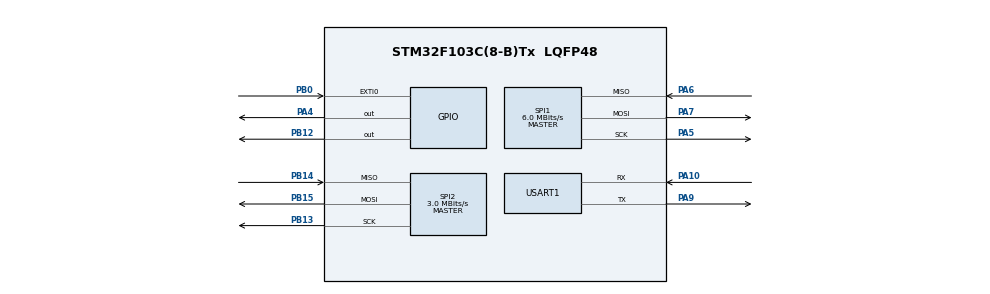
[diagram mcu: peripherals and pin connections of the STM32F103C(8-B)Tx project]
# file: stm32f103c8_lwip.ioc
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Mcu.Family=STM32F1
Mcu.Name=STM32F103C(8-B)Tx
Mcu.Package=LQFP48
NVIC.PriorityGroup=NVIC_PRIORITYGROUP_4
PA10.Mode=Asynchronous
PA10.Signal=USART1_RX
PA13.Mode=JTAG_4_pins
PA13.Signal=SYS_JTMS-SWDIO
PA14.Mode=JTAG_4_pins
PA14.Signal=SYS_JTCK-SWCLK
PA15.Mode=JTAG_4_pins
PA15.Signal=SYS_JTDI
PA4.Signal=GPIO_Output
PA5.Mode=Full_Duplex_Master
PA5.Signal=SPI1_SCK
PA6.Mode=Full_Duplex_Master
PA6.Signal=SPI1_MISO
PA7.Mode=Full_Duplex_Master
PA7.Signal=SPI1_MOSI
PA9.Mode=Asynchronous
PA9.Signal=USART1_TX
PB0.Signal=GPXTI0
PB12.GPIO_ModeDefaultOutputPP=GPIO_MODE_OUTPUT_PP
PB12.GPIO_PuPd=GPIO_PULLUP
PB12.GPIO_Speed=GPIO_SPEED_FREQ_LOW
PB12.PinState=GPIO_PIN_SET
PB12.Signal=GPIO_Output
PB13.Mode=Full_Duplex_Master
PB13.Signal=SPI2_SCK
PB14.Mode=Full_Duplex_Master
PB14.Signal=SPI2_MISO
PB15.Mode=Full_Duplex_Master
PB15.Signal=SPI2_MOSI
PB3.Mode=JTAG_4_pins
PB3.Signal=SYS_JTDO-TRACESWO
PC14-OSC32_IN.Mode=LSE-External-Oscillator
PC14-OSC32_IN.Signal=RCC_OSC32_IN
PC15-OSC32_OUT.Mode=LSE-External-Oscillator
PC15-OSC32_OUT.Signal=RCC_OSC32_OUT
PD0-OSC_IN.Mode=HSE-External-Oscillator
PD0-OSC_IN.Signal=RCC_OSC_IN
PD1-OSC_OUT.Mode=HSE-External-Oscillator
PD1-OSC_OUT.Signal=RCC_OSC_OUT
ProjectManager.HeapSize=0x400
ProjectManager.StackSize=0x400
ProjectManager.TargetToolchain=EWARM V8.32
RCC.AHBFreq_Value=48000000
RCC.APB1CLKDivider=RCC_HCLK_DIV2
RCC.APB1Freq_Value=24000000
RCC.APB1TimFreq_Value=48000000
RCC.APB2Freq_Value=48000000
RCC.APB2TimFreq_Value=48000000
RCC.HCLKFreq_Value=48000000
RCC.PLLMUL=RCC_PLL_MUL6
RCC.PLLSourceVirtual=RCC_PLLSOURCE_HSE
RCC.SYSCLKFreq_VALUE=48000000
RCC.SYSCLKSource=RCC_SYSCLKSOURCE_PLLCLK
RCC.USBFreq_Value=48000000
SPI1.BaudRatePrescaler=SPI_BAUDRATEPRESCALER_8
SPI1.CalculateBaudRate=6.0 MBits/s
SPI1.Direction=SPI_DIRECTION_2LINES
SPI1.Mode=SPI_MODE_MASTER
SPI1.VirtualType=VM_MASTER
SPI2.BaudRatePrescaler=SPI_BAUDRATEPRESCALER_8
SPI2.CLKPhase=SPI_PHASE_2EDGE
SPI2.CLKPolarity=SPI_POLARITY_HIGH
SPI2.CRCCalculation=SPI_CRCCALCULATION_DISABLE
SPI2.CalculateBaudRate=3.0 MBits/s
SPI2.Direction=SPI_DIRECTION_2LINES
SPI2.Mode=SPI_MODE_MASTER
SPI2.VirtualType=VM_MASTER
USART1.VirtualMode=VM_ASYNC
board=custom

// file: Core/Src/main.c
/* USER CODE BEGIN Header */
/**
  ******************************************************************************
  * @file           : main.c
  * @brief          : Main program body
  ******************************************************************************
  * @attention
  *
  * <h2><center>&copy; Copyright (c) 2020 STMicroelectronics.
  * All rights reserved.</center></h2>
  *
  * This software component is licensed by ST under Ultimate Liberty license
  * SLA0044, the "License"; You may not use this file except in compliance with
  * the License. You may obtain a copy of the License at:
  *                             www.st.com/SLA0044
  *
  ******************************************************************************
  */
/* USER CODE END Header */
#include "main.h"

/* USER CODE BEGIN Includes */
#include "stdio.h"
#include "string.h"

#include "flash.h"
#include "enc28j60.h"

#include "lwip/init.h"
#include "lwip/pbuf.h"
#include "ip_addr.h"
#include "lwip.h"
#include "device.h"
/* USER CODE END Includes */

/* USER CODE BEGIN PTD */
extern __IO uint32_t LocalTime;
uint8_t flash_unique_id[8];
uint8_t *macaddr = &flash_unique_id[2];
/* USER CODE END PTD */

/* USER CODE BEGIN PV */
dev_ctrl device;
/* USER CODE END PV */

void SystemClock_Config(void);
static void MX_GPIO_Init(void);
static void MX_SPI1_Init(void);
static void MX_SPI2_Init(void);
static void MX_USART1_UART_Init(void);

int main(void)
{

  /* MCU Configuration--------------------------------------------------------*/

  /* Reset of all peripherals, Initializes the Flash interface and the Systick. */

  LL_APB2_GRP1_EnableClock(LL_APB2_GRP1_PERIPH_AFIO);
  LL_APB1_GRP1_EnableClock(LL_APB1_GRP1_PERIPH_PWR);

  NVIC_SetPriorityGrouping(NVIC_PRIORITYGROUP_4);

  /* System interrupt init*/

  /** NONJTRST: Full SWJ (JTAG-DP + SW-DP) but without NJTRST
  */
  LL_GPIO_AF_Remap_SWJ_NONJTRST();

  /* Configure the system clock */
  SystemClock_Config();

  /* Initialize all configured peripherals */
  MX_GPIO_Init();
  MX_SPI1_Init();
  MX_SPI2_Init();
  MX_USART1_UART_Init();
  /* USER CODE BEGIN 2 */

  LL_SYSTICK_EnableIT();
  /* USER CODE END 2 */

  /* Infinite loop */
  /* USER CODE BEGIN WHILE */
  LL_SPI_Enable(SPI1);
  LL_SPI_Enable(SPI2);

  w25x16_ReadUniqueID(flash_unique_id);

//  printf("\nmacaddr:");
//  for (i=0;i<6;i++) {
//    printf("%02x ", macaddr[i]);
//  }
//  printf("\r\n");

  LwIP_Init();

  while (1)
  {
    /* USER CODE END WHILE */

    /* USER CODE BEGIN 3 */
    //HAL_UART_Transmit(&huart1, (uint8_t *)&ch, 1, 0xffff);
    //printf("helloworld!\r\n");
    //HAL_UART_Transmit(&huart2, buf, 1, 0xffff);
//    printf("====================\r\n");
//    w25x16_ReadJEDECID();
//    w25x16_ReadDeviceID();
//    w25x16_ReadManufacturer();
//     w25x16_ReadUniqueID();
//    w25x16_readstatus1();
//    w25x16_readstatus2();

//    w25x16_sector_erase(0x0);
//    w25x16_write_data(0x0, wbuf, 11);
//    memset(rbuf, 0, sizeof(rbuf));
//    w25x16_read_data(0x0, rbuf, 11);

    //printf("polling!\r\n");
    LwIP_Periodic_Handle(LocalTime);
  }
  /* USER CODE END 3 */
}

void SystemClock_Config(void)
{
  LL_FLASH_SetLatency(LL_FLASH_LATENCY_1);
  while(LL_FLASH_GetLatency()!= LL_FLASH_LATENCY_1)
  {
  }
  LL_RCC_HSE_Enable();

   /* Wait till HSE is ready */
  while(LL_RCC_HSE_IsReady() != 1)
  {

  }
  LL_RCC_PLL_ConfigDomain_SYS(LL_RCC_PLLSOURCE_HSE_DIV_1, LL_RCC_PLL_MUL_6);
  LL_RCC_PLL_Enable();

   /* Wait till PLL is ready */
  while(LL_RCC_PLL_IsReady() != 1)
  {

  }
  LL_RCC_SetAHBPrescaler(LL_RCC_SYSCLK_DIV_1);
  LL_RCC_SetAPB1Prescaler(LL_RCC_APB1_DIV_2);
  LL_RCC_SetAPB2Prescaler(LL_RCC_APB2_DIV_1);
  LL_RCC_SetSysClkSource(LL_RCC_SYS_CLKSOURCE_PLL);

   /* Wait till System clock is ready */
  while(LL_RCC_GetSysClkSource() != LL_RCC_SYS_CLKSOURCE_STATUS_PLL)
  {

  }
  LL_Init1msTick(48000000);
  LL_SetSystemCoreClock(48000000);
}

static void MX_SPI1_Init(void)
{

  LL_SPI_InitTypeDef SPI_InitStruct = {0};

  LL_GPIO_InitTypeDef GPIO_InitStruct = {0};

  /* Peripheral clock enable */
  LL_APB2_GRP1_EnableClock(LL_APB2_GRP1_PERIPH_SPI1);

  LL_APB2_GRP1_EnableClock(LL_APB2_GRP1_PERIPH_GPIOA);
  /**SPI1 GPIO Configuration
  PA5   ------> SPI1_SCK
  PA6   ------> SPI1_MISO
  PA7   ------> SPI1_MOSI
  */
  GPIO_InitStruct.Pin = LL_GPIO_PIN_5|LL_GPIO_PIN_7;
  GPIO_InitStruct.Mode = LL_GPIO_MODE_ALTERNATE;
  GPIO_InitStruct.Speed = LL_GPIO_SPEED_FREQ_HIGH;
  GPIO_InitStruct.OutputType = LL_GPIO_OUTPUT_PUSHPULL;
  LL_GPIO_Init(GPIOA, &GPIO_InitStruct);

  GPIO_InitStruct.Pin = LL_GPIO_PIN_6;
  GPIO_InitStruct.Mode = LL_GPIO_MODE_FLOATING;
  LL_GPIO_Init(GPIOA, &GPIO_InitStruct);

  /* SPI1 parameter configuration*/
  SPI_InitStruct.TransferDirection = LL_SPI_FULL_DUPLEX;
  SPI_InitStruct.Mode = LL_SPI_MODE_MASTER;
  SPI_InitStruct.DataWidth = LL_SPI_DATAWIDTH_8BIT;
  SPI_InitStruct.ClockPolarity = LL_SPI_POLARITY_LOW;
  SPI_InitStruct.ClockPhase = LL_SPI_PHASE_1EDGE;
  SPI_InitStruct.NSS = LL_SPI_NSS_SOFT;
  SPI_InitStruct.BaudRate = LL_SPI_BAUDRATEPRESCALER_DIV8;
  SPI_InitStruct.BitOrder = LL_SPI_MSB_FIRST;
  SPI_InitStruct.CRCCalculation = LL_SPI_CRCCALCULATION_DISABLE;
  SPI_InitStruct.CRCPoly = 10;
  LL_SPI_Init(SPI1, &SPI_InitStruct);

}

static void MX_SPI2_Init(void)
{

  LL_SPI_InitTypeDef SPI_InitStruct = {0};

  LL_GPIO_InitTypeDef GPIO_InitStruct = {0};

  /* Peripheral clock enable */
  LL_APB1_GRP1_EnableClock(LL_APB1_GRP1_PERIPH_SPI2);

  LL_APB2_GRP1_EnableClock(LL_APB2_GRP1_PERIPH_GPIOB);
  /**SPI2 GPIO Configuration
  PB13   ------> SPI2_SCK
  PB14   ------> SPI2_MISO
  PB15   ------> SPI2_MOSI
  */
  GPIO_InitStruct.Pin = LL_GPIO_PIN_13|LL_GPIO_PIN_15;
  GPIO_InitStruct.Mode = LL_GPIO_MODE_ALTERNATE;
  GPIO_InitStruct.Speed = LL_GPIO_SPEED_FREQ_HIGH;
  GPIO_InitStruct.OutputType = LL_GPIO_OUTPUT_PUSHPULL;
  LL_GPIO_Init(GPIOB, &GPIO_InitStruct);

  GPIO_InitStruct.Pin = LL_GPIO_PIN_14;
  GPIO_InitStruct.Mode = LL_GPIO_MODE_FLOATING;
  LL_GPIO_Init(GPIOB, &GPIO_InitStruct);

  /* SPI2 parameter configuration*/
  SPI_InitStruct.TransferDirection = LL_SPI_FULL_DUPLEX;
  SPI_InitStruct.Mode = LL_SPI_MODE_MASTER;
  SPI_InitStruct.DataWidth = LL_SPI_DATAWIDTH_8BIT;
  SPI_InitStruct.ClockPolarity = LL_SPI_POLARITY_HIGH;
  SPI_InitStruct.ClockPhase = LL_SPI_PHASE_2EDGE;
  SPI_InitStruct.NSS = LL_SPI_NSS_SOFT;
  SPI_InitStruct.BaudRate = LL_SPI_BAUDRATEPRESCALER_DIV8;
  SPI_InitStruct.BitOrder = LL_SPI_MSB_FIRST;
  SPI_InitStruct.CRCCalculation = LL_SPI_CRCCALCULATION_DISABLE;
  SPI_InitStruct.CRCPoly = 10;
  LL_SPI_Init(SPI2, &SPI_InitStruct);

}

static void MX_USART1_UART_Init(void)
{

  LL_USART_InitTypeDef USART_InitStruct = {0};

  LL_GPIO_InitTypeDef GPIO_InitStruct = {0};

  /* Peripheral clock enable */
  LL_APB2_GRP1_EnableClock(LL_APB2_GRP1_PERIPH_USART1);

  LL_APB2_GRP1_EnableClock(LL_APB2_GRP1_PERIPH_GPIOA);
  /**USART1 GPIO Configuration
  PA9   ------> USART1_TX
  PA10   ------> USART1_RX
  */
  GPIO_InitStruct.Pin = LL_GPIO_PIN_9;
  GPIO_InitStruct.Mode = LL_GPIO_MODE_ALTERNATE;
  GPIO_InitStruct.Speed = LL_GPIO_SPEED_FREQ_HIGH;
  GPIO_InitStruct.OutputType = LL_GPIO_OUTPUT_PUSHPULL;
  LL_GPIO_Init(GPIOA, &GPIO_InitStruct);

  GPIO_InitStruct.Pin = LL_GPIO_PIN_10;
  GPIO_InitStruct.Mode = LL_GPIO_MODE_FLOATING;
  LL_GPIO_Init(GPIOA, &GPIO_InitStruct);

  USART_InitStruct.BaudRate = 115200;
  USART_InitStruct.DataWidth = LL_USART_DATAWIDTH_8B;
  USART_InitStruct.StopBits = LL_USART_STOPBITS_1;
  USART_InitStruct.Parity = LL_USART_PARITY_NONE;
  USART_InitStruct.TransferDirection = LL_USART_DIRECTION_TX_RX;
  USART_InitStruct.HardwareFlowControl = LL_USART_HWCONTROL_NONE;
  USART_InitStruct.OverSampling = LL_USART_OVERSAMPLING_16;
  LL_USART_Init(USART1, &USART_InitStruct);
  LL_USART_ConfigAsyncMode(USART1);
  LL_USART_Enable(USART1);

}

static void MX_GPIO_Init(void)
{
  LL_EXTI_InitTypeDef EXTI_InitStruct = {0};
  LL_GPIO_InitTypeDef GPIO_InitStruct = {0};

  /* GPIO Ports Clock Enable */
  LL_APB2_GRP1_EnableClock(LL_APB2_GRP1_PERIPH_GPIOC);
  LL_APB2_GRP1_EnableClock(LL_APB2_GRP1_PERIPH_GPIOD);
  LL_APB2_GRP1_EnableClock(LL_APB2_GRP1_PERIPH_GPIOA);
  LL_APB2_GRP1_EnableClock(LL_APB2_GRP1_PERIPH_GPIOB);

  /**/
  LL_GPIO_ResetOutputPin(GPIOA, LL_GPIO_PIN_4);

  /**/
  LL_GPIO_SetOutputPin(GPIOB, LL_GPIO_PIN_12);

  /**/
  GPIO_InitStruct.Pin = LL_GPIO_PIN_4;
  GPIO_InitStruct.Mode = LL_GPIO_MODE_OUTPUT;
  GPIO_InitStruct.Speed = LL_GPIO_SPEED_FREQ_LOW;
  GPIO_InitStruct.OutputType = LL_GPIO_OUTPUT_PUSHPULL;
  LL_GPIO_Init(GPIOA, &GPIO_InitStruct);

  /**/
  GPIO_InitStruct.Pin = LL_GPIO_PIN_12;
  GPIO_InitStruct.Mode = LL_GPIO_MODE_OUTPUT;
  GPIO_InitStruct.Speed = LL_GPIO_SPEED_FREQ_LOW;
  GPIO_InitStruct.OutputType = LL_GPIO_OUTPUT_PUSHPULL;
  GPIO_InitStruct.Pull = LL_GPIO_PULL_UP;
  LL_GPIO_Init(GPIOB, &GPIO_InitStruct);

  /**/
  LL_GPIO_AF_SetEXTISource(LL_GPIO_AF_EXTI_PORTB, LL_GPIO_AF_EXTI_LINE0);

  /**/
  EXTI_InitStruct.Line_0_31 = LL_EXTI_LINE_0;
  EXTI_InitStruct.LineCommand = ENABLE;
  EXTI_InitStruct.Mode = LL_EXTI_MODE_IT;
  EXTI_InitStruct.Trigger = LL_EXTI_TRIGGER_RISING;
  LL_EXTI_Init(&EXTI_InitStruct);

  /**/
  LL_GPIO_SetPinMode(GPIOB, LL_GPIO_PIN_0, LL_GPIO_MODE_FLOATING);

}

/* USER CODE BEGIN 4 */
int fputc(int ch, FILE *f)
{
//  HAL_UART_Transmit(&huart1, (uint8_t *)&ch, 1, 0xffff);
  LL_USART_TransmitData8(USART1, (uint8_t)ch);
  while(!LL_USART_IsActiveFlag_TC(USART1));
  return (ch);
}
/* USER CODE END 4 */

void Error_Handler(void)
{
}

/************************ (C) COPYRIGHT STMicroelectronics *****END OF FILE****/
